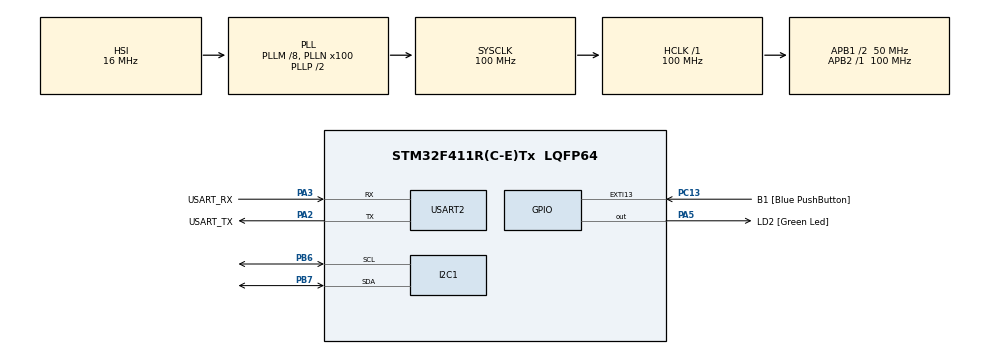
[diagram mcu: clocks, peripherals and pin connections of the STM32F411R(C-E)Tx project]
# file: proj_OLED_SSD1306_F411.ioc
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Mcu.Family=STM32F4
Mcu.Name=STM32F411R(C-E)Tx
Mcu.Package=LQFP64
NVIC.PriorityGroup=NVIC_PRIORITYGROUP_0
PA13.GPIO_Label=TMS
PA13.Mode=Serial_Wire
PA13.Signal=SYS_JTMS-SWDIO
PA14.GPIO_Label=TCK
PA14.Mode=Serial_Wire
PA14.Signal=SYS_JTCK-SWCLK
PA2.GPIO_Label=USART_TX
PA2.Mode=Asynchronous
PA2.Signal=USART2_TX
PA3.GPIO_Label=USART_RX
PA3.Mode=Asynchronous
PA3.Signal=USART2_RX
PA5.GPIO_Label=LD2 [Green Led]
PA5.Signal=GPIO_Output
PB3.GPIO_Label=SWO
PB3.Signal=SYS_JTDO-SWO
PB6.Mode=I2C
PB6.Signal=I2C1_SCL
PB7.Mode=I2C
PB7.Signal=I2C1_SDA
PC13-ANTI_TAMP.GPIO_Label=B1 [Blue PushButton]
PC13-ANTI_TAMP.GPIO_ModeDefaultEXTI=GPIO_MODE_IT_FALLING
PC13-ANTI_TAMP.Signal=GPXTI13
PC14-OSC32_IN.Mode=LSE-External-Oscillator
PC14-OSC32_IN.Signal=RCC_OSC32_IN
PC15-OSC32_OUT.Mode=LSE-External-Oscillator
PC15-OSC32_OUT.Signal=RCC_OSC32_OUT
PH0\ -\ OSC_IN.Mode=HSE-External-Clock-Source
PH0\ -\ OSC_IN.Signal=RCC_OSC_IN
PH1\ -\ OSC_OUT.Mode=HSE-External-Clock-Source
PH1\ -\ OSC_OUT.Signal=RCC_OSC_OUT
ProjectManager.HeapSize=0x200
ProjectManager.StackSize=0x400
ProjectManager.TargetToolchain=STM32CubeIDE
RCC.48MHZClocksFreq_Value=50000000
RCC.AHBFreq_Value=100000000
RCC.APB1CLKDivider=RCC_HCLK_DIV2
RCC.APB1Freq_Value=50000000
RCC.APB1TimFreq_Value=100000000
RCC.APB2Freq_Value=100000000
RCC.APB2TimFreq_Value=100000000
RCC.CortexFreq_Value=100000000
RCC.FLatency-AdvancedSettings=FLASH_LATENCY_3
RCC.HCLKFreq_Value=100000000
RCC.HSE_VALUE=8000000
RCC.HSI_VALUE=16000000
RCC.PLLM=8
RCC.PLLN=100
RCC.SYSCLKFreq_VALUE=100000000
RCC.SYSCLKSource=RCC_SYSCLKSOURCE_PLLCLK
RCC.VCOOutputFreq_Value=200000000
USART2.VirtualMode=VM_ASYNC
board=NUCLEO-F411RE

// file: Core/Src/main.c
/* USER CODE BEGIN Header */
/**
  ******************************************************************************
  * @file           : main.c
  * @brief          : Main program body
  ******************************************************************************
  * @attention
  *
  * Copyright (c) 2025 STMicroelectronics.
  * All rights reserved.
  *
  * This software is licensed under terms that can be found in the LICENSE file
  * in the root directory of this software component.
  * If no LICENSE file comes with this software, it is provided AS-IS.
  *
  ******************************************************************************
  */
/* USER CODE END Header */
#include "main.h"
#include "i2c.h"
#include "usart.h"
#include "gpio.h"

/* USER CODE BEGIN Includes */
#include <stdio.h>
#include "ssd1306.h"
#include "ssd1306_tests.h"
#include <stdbool.h>
/* USER CODE END Includes */

void SystemClock_Config(void);

/* USER CODE BEGIN 0 */
int _write(int file, char *ptr, int len)
{
	HAL_UART_Transmit(&huart2, (uint8_t *)ptr, len, HAL_MAX_DELAY);
	return len;
}

void I2C_Scan(void)
{
    printf("Scanning I2C...\r\n");

    for (uint8_t addr = 1; addr < 128; addr++)
    {
        if (HAL_I2C_IsDeviceReady(&hi2c1, addr << 1, 1, 10) == HAL_OK)
        {
            printf("Found device at 0x%02X\r\n", addr);
        }
    }

    printf("Scan done.\r\n");
}

void ssd1306_test() {
	ssd1306_TestAll();
	HAL_Delay(150);
}
/* USER CODE END 0 */

int main(void)
{

  /* MCU Configuration--------------------------------------------------------*/

  /* Reset of all peripherals, Initializes the Flash interface and the Systick. */
  HAL_Init();

  /* Configure the system clock */
  SystemClock_Config();

  /* Initialize all configured peripherals */
  MX_GPIO_Init();
  MX_USART2_UART_Init();
  MX_I2C1_Init();
  /* USER CODE BEGIN 2 */
  I2C_Scan();
  printf("System Initialized Successfully...\r\n");
  /* USER CODE END 2 */

  /* Infinite loop */
  while (1)
  {

    /* USER CODE BEGIN 3 */
	  ssd1306_test();
  }
  /* USER CODE END 3 */
}

void SystemClock_Config(void)
{
  RCC_OscInitTypeDef RCC_OscInitStruct = {0};
  RCC_ClkInitTypeDef RCC_ClkInitStruct = {0};

  /** Configure the main internal regulator output voltage
  */
  __HAL_RCC_PWR_CLK_ENABLE();
  __HAL_PWR_VOLTAGESCALING_CONFIG(PWR_REGULATOR_VOLTAGE_SCALE1);

  /** Initializes the RCC Oscillators according to the specified parameters
  * in the RCC_OscInitTypeDef structure.
  */
  RCC_OscInitStruct.OscillatorType = RCC_OSCILLATORTYPE_HSI;
  RCC_OscInitStruct.HSIState = RCC_HSI_ON;
  RCC_OscInitStruct.HSICalibrationValue = RCC_HSICALIBRATION_DEFAULT;
  RCC_OscInitStruct.PLL.PLLState = RCC_PLL_ON;
  RCC_OscInitStruct.PLL.PLLSource = RCC_PLLSOURCE_HSI;
  RCC_OscInitStruct.PLL.PLLM = 8;
  RCC_OscInitStruct.PLL.PLLN = 100;
  RCC_OscInitStruct.PLL.PLLP = RCC_PLLP_DIV2;
  RCC_OscInitStruct.PLL.PLLQ = 4;
  if (HAL_RCC_OscConfig(&RCC_OscInitStruct) != HAL_OK)
  {
    Error_Handler();
  }

  /** Initializes the CPU, AHB and APB buses clocks
  */
  RCC_ClkInitStruct.ClockType = RCC_CLOCKTYPE_HCLK|RCC_CLOCKTYPE_SYSCLK
                              |RCC_CLOCKTYPE_PCLK1|RCC_CLOCKTYPE_PCLK2;
  RCC_ClkInitStruct.SYSCLKSource = RCC_SYSCLKSOURCE_PLLCLK;
  RCC_ClkInitStruct.AHBCLKDivider = RCC_SYSCLK_DIV1;
  RCC_ClkInitStruct.APB1CLKDivider = RCC_HCLK_DIV2;
  RCC_ClkInitStruct.APB2CLKDivider = RCC_HCLK_DIV1;

  if (HAL_RCC_ClockConfig(&RCC_ClkInitStruct, FLASH_LATENCY_3) != HAL_OK)
  {
    Error_Handler();
  }
}

void Error_Handler(void)
{
  __disable_irq();
  while (1)
  {
  }
}
